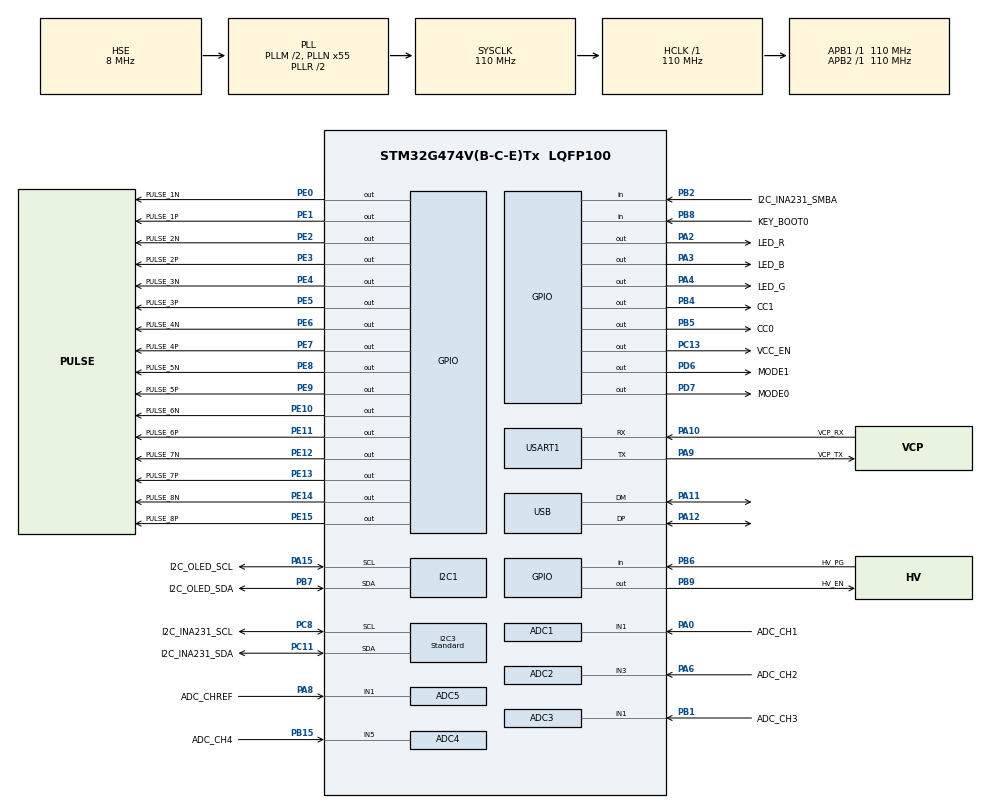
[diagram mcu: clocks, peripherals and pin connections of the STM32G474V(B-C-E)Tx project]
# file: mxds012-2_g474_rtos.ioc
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ADC1.Channel-1\#ChannelRegularConversion=ADC_CHANNEL_1
ADC1.ClockPrescaler=ADC_CLOCK_ASYNC_DIV2
ADC1.ContinuousConvMode=DISABLE
ADC1.DMAAccessModeView=ENABLE
ADC1.ExternalTrigConv=ADC_EXTERNALTRIG_T3_TRGO
ADC1.GainCompensation=0
ADC1.Mode=ADC_DUALMODE_REGSIMULT
ADC1.NbrOfConversionFlag=1
ADC1.OffsetNumber-1\#ChannelRegularConversion=ADC_OFFSET_NONE
ADC1.Rank-1\#ChannelRegularConversion=1
ADC1.Resolution=ADC_RESOLUTION_10B
ADC1.SamplingTime-1\#ChannelRegularConversion=ADC_SAMPLETIME_2CYCLES_5
ADC1.master=1
ADC2.Channel-0\#ChannelRegularConversion=ADC_CHANNEL_3
ADC2.ClockPrescaler=ADC_CLOCK_ASYNC_DIV2
ADC2.ContinuousConvMode=DISABLE
ADC2.DMAAccessModeView=ENABLE
ADC2.Mode=ADC_DUALMODE_REGSIMULT
ADC2.NbrOfConversionFlag=1
ADC2.OffsetNumber-0\#ChannelRegularConversion=ADC_OFFSET_NONE
ADC2.Rank-0\#ChannelRegularConversion=1
ADC2.Resolution=ADC_RESOLUTION_10B
ADC2.SamplingTime-0\#ChannelRegularConversion=ADC_SAMPLETIME_2CYCLES_5
ADC3.Channel-0\#ChannelRegularConversion=ADC_CHANNEL_1
ADC3.ClockPrescaler=ADC_CLOCK_ASYNC_DIV2
ADC3.DMAAccessModeView=ENABLE
ADC3.ExternalTrigConv=ADC_EXTERNALTRIG_T3_TRGO
ADC3.Mode=ADC_DUALMODE_REGSIMULT
ADC3.NbrOfConversionFlag=1
ADC3.OffsetNumber-0\#ChannelRegularConversion=ADC_OFFSET_NONE
ADC3.Rank-0\#ChannelRegularConversion=1
ADC3.Resolution=ADC_RESOLUTION_10B
ADC3.SamplingTime-0\#ChannelRegularConversion=ADC_SAMPLETIME_2CYCLES_5
ADC3.master=1
ADC4.Channel-1\#ChannelRegularConversion=ADC_CHANNEL_5
ADC4.ClockPrescaler=ADC_CLOCK_ASYNC_DIV2
ADC4.DMAAccessModeView=ENABLE
ADC4.Mode=ADC_DUALMODE_REGSIMULT
ADC4.NbrOfConversionFlag=1
ADC4.OffsetNumber-1\#ChannelRegularConversion=ADC_OFFSET_NONE
ADC4.Rank-1\#ChannelRegularConversion=1
ADC4.Resolution=ADC_RESOLUTION_10B
ADC4.SamplingTime-1\#ChannelRegularConversion=ADC_SAMPLETIME_2CYCLES_5
ADC5.Channel-1\#ChannelRegularConversion=ADC_CHANNEL_1
ADC5.ClockPrescaler=ADC_CLOCK_ASYNC_DIV2
ADC5.ContinuousConvMode=DISABLE
ADC5.ExternalTrigConv=ADC_EXTERNALTRIG_T3_TRGO
ADC5.Mode=ADC_DUALMODE_REGSIMULT
ADC5.NbrOfConversionFlag=1
ADC5.OffsetNumber-1\#ChannelRegularConversion=ADC_OFFSET_NONE
ADC5.Rank-1\#ChannelRegularConversion=1
ADC5.Resolution=ADC_RESOLUTION_10B
ADC5.SamplingTime-1\#ChannelRegularConversion=ADC_SAMPLETIME_2CYCLES_5
Dma.ADC1.1.Direction=DMA_PERIPH_TO_MEMORY
Dma.ADC1.1.EventEnable=DISABLE
Dma.ADC1.1.Instance=DMA1_Channel2
Dma.ADC1.1.MemDataAlignment=DMA_MDATAALIGN_WORD
Dma.ADC1.1.MemInc=DMA_MINC_ENABLE
Dma.ADC1.1.Mode=DMA_NORMAL
Dma.ADC1.1.PeriphDataAlignment=DMA_PDATAALIGN_WORD
Dma.ADC1.1.PeriphInc=DMA_PINC_DISABLE
Dma.ADC1.1.Polarity=HAL_DMAMUX_REQ_GEN_RISING
Dma.ADC1.1.Priority=DMA_PRIORITY_HIGH
Dma.ADC1.1.RequestNumber=1
Dma.ADC1.1.SignalID=NONE
Dma.ADC1.1.SyncEnable=DISABLE
Dma.ADC1.1.SyncPolarity=HAL_DMAMUX_SYNC_NO_EVENT
Dma.ADC1.1.SyncRequestNumber=1
Dma.ADC1.1.SyncSignalID=NONE
Dma.ADC3.4.Direction=DMA_PERIPH_TO_MEMORY
Dma.ADC3.4.EventEnable=DISABLE
Dma.ADC3.4.Instance=DMA2_Channel2
Dma.ADC3.4.MemDataAlignment=DMA_MDATAALIGN_WORD
Dma.ADC3.4.MemInc=DMA_MINC_ENABLE
Dma.ADC3.4.Mode=DMA_NORMAL
Dma.ADC3.4.PeriphDataAlignment=DMA_PDATAALIGN_WORD
Dma.ADC3.4.PeriphInc=DMA_PINC_DISABLE
Dma.ADC3.4.Polarity=HAL_DMAMUX_REQ_GEN_RISING
Dma.ADC3.4.Priority=DMA_PRIORITY_HIGH
Dma.ADC3.4.RequestNumber=1
Dma.ADC3.4.SignalID=NONE
Dma.ADC3.4.SyncEnable=DISABLE
Dma.ADC3.4.SyncPolarity=HAL_DMAMUX_SYNC_NO_EVENT
Dma.ADC3.4.SyncRequestNumber=1
Dma.ADC3.4.SyncSignalID=NONE
Dma.ADC5.2.Direction=DMA_PERIPH_TO_MEMORY
Dma.ADC5.2.EventEnable=DISABLE
Dma.ADC5.2.Instance=DMA2_Channel1
Dma.ADC5.2.MemDataAlignment=DMA_MDATAALIGN_HALFWORD
Dma.ADC5.2.MemInc=DMA_MINC_ENABLE
Dma.ADC5.2.Mode=DMA_NORMAL
Dma.ADC5.2.PeriphDataAlignment=DMA_PDATAALIGN_HALFWORD
Dma.ADC5.2.PeriphInc=DMA_PINC_DISABLE
Dma.ADC5.2.Polarity=HAL_DMAMUX_REQ_GEN_RISING
Dma.ADC5.2.Priority=DMA_PRIORITY_HIGH
Dma.ADC5.2.RequestNumber=1
Dma.ADC5.2.SignalID=NONE
Dma.ADC5.2.SyncEnable=DISABLE
Dma.ADC5.2.SyncPolarity=HAL_DMAMUX_SYNC_NO_EVENT
Dma.ADC5.2.SyncRequestNumber=1
Dma.ADC5.2.SyncSignalID=NONE
Dma.Request0=TIM2_UP
Dma.Request1=ADC1
Dma.Request2=ADC5
Dma.Request3=USART1_TX
Dma.Request4=ADC3
Dma.TIM2_UP.0.Direction=DMA_MEMORY_TO_PERIPH
Dma.TIM2_UP.0.EventEnable=DISABLE
Dma.TIM2_UP.0.Instance=DMA1_Channel1
Dma.TIM2_UP.0.MemDataAlignment=DMA_MDATAALIGN_HALFWORD
Dma.TIM2_UP.0.MemInc=DMA_MINC_ENABLE
Dma.TIM2_UP.0.Mode=DMA_NORMAL
Dma.TIM2_UP.0.PeriphDataAlignment=DMA_PDATAALIGN_HALFWORD
Dma.TIM2_UP.0.PeriphInc=DMA_PINC_DISABLE
Dma.TIM2_UP.0.Polarity=HAL_DMAMUX_REQ_GEN_RISING
Dma.TIM2_UP.0.Priority=DMA_PRIORITY_VERY_HIGH
Dma.TIM2_UP.0.RequestNumber=1
Dma.TIM2_UP.0.SignalID=NONE
Dma.TIM2_UP.0.SyncEnable=DISABLE
Dma.TIM2_UP.0.SyncPolarity=HAL_DMAMUX_SYNC_NO_EVENT
Dma.TIM2_UP.0.SyncRequestNumber=1
Dma.TIM2_UP.0.SyncSignalID=NONE
Dma.USART1_TX.3.Direction=DMA_MEMORY_TO_PERIPH
Dma.USART1_TX.3.EventEnable=DISABLE
Dma.USART1_TX.3.Instance=DMA2_Channel3
Dma.USART1_TX.3.MemDataAlignment=DMA_MDATAALIGN_BYTE
Dma.USART1_TX.3.MemInc=DMA_MINC_ENABLE
Dma.USART1_TX.3.Mode=DMA_NORMAL
Dma.USART1_TX.3.PeriphDataAlignment=DMA_PDATAALIGN_BYTE
Dma.USART1_TX.3.PeriphInc=DMA_PINC_DISABLE
Dma.USART1_TX.3.Polarity=HAL_DMAMUX_REQ_GEN_RISING
Dma.USART1_TX.3.Priority=DMA_PRIORITY_LOW
Dma.USART1_TX.3.RequestNumber=1
Dma.USART1_TX.3.SignalID=NONE
Dma.USART1_TX.3.SyncEnable=DISABLE
Dma.USART1_TX.3.SyncPolarity=HAL_DMAMUX_SYNC_NO_EVENT
Dma.USART1_TX.3.SyncRequestNumber=1
Dma.USART1_TX.3.SyncSignalID=NONE
FREERTOS.BinarySemaphores01=USBTXCpltSem,Dynamic,NULL,Depleted
FREERTOS.Events01=sysEventGroup,Dynamic,NULL
FREERTOS.Mutexes01=usbTxMutex,Dynamic,NULL,Available
FREERTOS.Queues01=sysControlQueue,8,SysControlMessage*,0,Dynamic,NULL,NULL;OLEDQueue,16,uint16_t,0,Dynamic,NULL,NULL;USBRXQueue,16,uint8_t,0,Dynamic,NULL,NULL;UsbTxQueue,16,void*,0,Dynamic,NULL,NULL
FREERTOS.Tasks01=SysMonitorTask,31,128,StartSysMonitorTask,As weak,NULL,Dynamic,NULL,NULL;OLEDTask,27,128,StartOLEDTask,As weak,NULL,Dynamic,NULL,NULL;LEDTask,16,128,StartLEDTask,As external,NULL,Dynamic,NULL,NULL;USServiceTask,48,128,StartUltrasoundServiceTask,As external,NULL,Dynamic,NULL,NULL;KeyTask,32,128,StartKeyTask,As external,NULL,Dynamic,NULL,NULL;HVMonitorTask,33,128,StartHVMonitorTask,As external,NULL,Dynamic,NULL,NULL;INA231Task,15,128,StartINA231Task,As weak,NULL,Dynamic,NULL,NULL;ADCTask,48,128,StartADCTask,As external,NULL,Dynamic,NULL,NULL;USBRXTask,24,128,StartUSBRXTask,As weak,NULL,Dynamic,NULL,NULL;USBTXTask,30,128,StartUSBTXTask,As weak,NULL,Dynamic,NULL,NULL
FREERTOS.configTOTAL_HEAP_SIZE=65536
I2C1.Timing=0x60514452
I2C3.I2C_Speed_Mode=I2C_Standard
I2C3.Timing=0x60514452
Mcu.Family=STM32G4
Mcu.Name=STM32G474V(B-C-E)Tx
Mcu.Package=LQFP100
NVIC.DMA1_Channel1_IRQn=true\:5\:0\:true\:false\:true\:true\:false\:true\:true
NVIC.DMA1_Channel2_IRQn=true\:5\:0\:false\:false\:true\:true\:false\:true\:true
NVIC.DMA2_Channel1_IRQn=true\:5\:0\:false\:false\:true\:false\:false\:true\:true
NVIC.DMA2_Channel2_IRQn=true\:5\:0\:false\:false\:true\:true\:false\:true\:true
NVIC.DMA2_Channel3_IRQn=true\:5\:0\:false\:false\:true\:true\:false\:true\:true
NVIC.PriorityGroup=NVIC_PRIORITYGROUP_4
NVIC.TIM1_TRG_COM_TIM17_IRQn=true\:15\:0\:false\:false\:true\:false\:false\:true\:true
NVIC.TIM5_IRQn=true\:5\:0\:false\:false\:true\:true\:true\:true\:true
NVIC.TimeBase=TIM1_TRG_COM_TIM17_IRQn
NVIC.TimeBaseIP=TIM17
NVIC.USART1_IRQn=true\:5\:0\:false\:false\:true\:true\:false\:true\:true
NVIC.USB_LP_IRQn=true\:5\:0\:false\:false\:true\:true\:false\:true\:true
PA0.GPIO_Label=ADC_CH1
PA0.Mode=IN1-Single-Ended
PA0.Signal=ADC1_IN1
PA10.GPIO_Label=VCP_RX
PA10.GPIO_Speed=GPIO_SPEED_FREQ_MEDIUM
PA10.Mode=Asynchronous
PA10.Signal=USART1_RX
PA11.Mode=Device
PA11.Signal=USB_DM
PA12.Mode=Device
PA12.Signal=USB_DP
PA13.Mode=Trace_Asynchronous_SW
PA13.Signal=SYS_JTMS-SWDIO
PA14.Mode=Trace_Asynchronous_SW
PA14.Signal=SYS_JTCK-SWCLK
PA15.GPIO_Label=I2C_OLED_SCL
PA15.Mode=I2C
PA15.Signal=I2C1_SCL
PA2.GPIO_Label=LED_R
PA2.GPIO_ModeDefaultOutputPP=GPIO_MODE_OUTPUT_OD
PA2.GPIO_PuPd=GPIO_NOPULL
PA2.PinState=GPIO_PIN_SET
PA2.Signal=GPIO_Output
PA3.GPIO_Label=LED_B
PA3.GPIO_ModeDefaultOutputPP=GPIO_MODE_OUTPUT_OD
PA3.GPIO_PuPd=GPIO_NOPULL
PA3.PinState=GPIO_PIN_SET
PA3.Signal=GPIO_Output
PA4.GPIO_Label=LED_G
PA4.GPIO_ModeDefaultOutputPP=GPIO_MODE_OUTPUT_OD
PA4.GPIO_PuPd=GPIO_NOPULL
PA4.PinState=GPIO_PIN_SET
PA4.Signal=GPIO_Output
PA6.GPIO_Label=ADC_CH2
PA6.Mode=IN3-Single-Ended
PA6.Signal=ADC2_IN3
PA8.GPIO_Label=ADC_CHREF
PA8.Mode=IN1-Single-Ended
PA8.Signal=ADC5_IN1
PA9.GPIO_Label=VCP_TX
PA9.GPIO_Speed=GPIO_SPEED_FREQ_MEDIUM
PA9.Mode=Asynchronous
PA9.Signal=USART1_TX
PB1.GPIO_Label=ADC_CH3
PB1.Mode=IN1-Single-Ended
PB1.Signal=ADC3_IN1
PB15.GPIO_Label=ADC_CH4
PB15.Mode=IN5-Single-Ended
PB15.Signal=ADC4_IN5
PB2.GPIO_Label=I2C_INA231_SMBA
PB2.Signal=GPIO_Input
PB3.Mode=Trace_Asynchronous_SW
PB3.Signal=SYS_JTDO-SWO
PB4.GPIO_Label=CC1
PB4.PinState=GPIO_PIN_SET
PB4.Signal=GPIO_Output
PB5.GPIO_Label=CC0
PB5.PinState=GPIO_PIN_SET
PB5.Signal=GPIO_Output
PB6.GPIO_Label=HV_PG
PB6.GPIO_PuPd=GPIO_PULLUP
PB6.Signal=GPIO_Input
PB7.GPIO_Label=I2C_OLED_SDA
PB7.Mode=I2C
PB7.Signal=I2C1_SDA
PB8-BOOT0.GPIO_Label=KEY_BOOT0
PB8-BOOT0.Signal=GPIO_Input
PB9.GPIO_Label=HV_EN
PB9.GPIO_ModeDefaultOutputPP=GPIO_MODE_OUTPUT_OD
PB9.GPIO_PuPd=GPIO_NOPULL
PB9.Signal=GPIO_Output
PC11.GPIO_Label=I2C_INA231_SDA
PC11.Mode=I2C
PC11.Signal=I2C3_SDA
PC13.GPIO_Label=VCC_EN
PC13.GPIO_ModeDefaultOutputPP=GPIO_MODE_OUTPUT_PP
PC13.GPIO_PuPd=GPIO_NOPULL
PC13.PinState=GPIO_PIN_RESET
PC13.Signal=GPIO_Output
PC14-OSC32_IN.Mode=LSE-External-Oscillator
PC14-OSC32_IN.Signal=RCC_OSC32_IN
PC15-OSC32_OUT.Mode=LSE-External-Oscillator
PC15-OSC32_OUT.Signal=RCC_OSC32_OUT
PC8.GPIO_Label=I2C_INA231_SCL
PC8.Mode=I2C
PC8.Signal=I2C3_SCL
PD6.GPIO_Label=MODE1
PD6.Signal=GPIO_Output
PD7.GPIO_Label=MODE0
PD7.Signal=GPIO_Output
PE0.GPIO_Label=PULSE_1N
PE0.GPIO_Speed=GPIO_SPEED_FREQ_VERY_HIGH
PE0.Signal=GPIO_Output
PE1.GPIO_Label=PULSE_1P
PE1.GPIO_Speed=GPIO_SPEED_FREQ_VERY_HIGH
PE1.Signal=GPIO_Output
PE10.GPIO_Label=PULSE_6N
PE10.GPIO_Speed=GPIO_SPEED_FREQ_VERY_HIGH
PE10.Signal=GPIO_Output
PE11.GPIO_Label=PULSE_6P
PE11.GPIO_Speed=GPIO_SPEED_FREQ_VERY_HIGH
PE11.Signal=GPIO_Output
PE12.GPIO_Label=PULSE_7N
PE12.GPIO_Speed=GPIO_SPEED_FREQ_VERY_HIGH
PE12.Signal=GPIO_Output
PE13.GPIO_Label=PULSE_7P
PE13.GPIO_Speed=GPIO_SPEED_FREQ_VERY_HIGH
PE13.Signal=GPIO_Output
PE14.GPIO_Label=PULSE_8N
PE14.GPIO_Speed=GPIO_SPEED_FREQ_VERY_HIGH
PE14.Signal=GPIO_Output
PE15.GPIO_Label=PULSE_8P
PE15.GPIO_Speed=GPIO_SPEED_FREQ_VERY_HIGH
PE15.Signal=GPIO_Output
PE2.GPIO_Label=PULSE_2N
PE2.GPIO_Speed=GPIO_SPEED_FREQ_VERY_HIGH
PE2.Signal=GPIO_Output
PE3.GPIO_Label=PULSE_2P
PE3.GPIO_Speed=GPIO_SPEED_FREQ_VERY_HIGH
PE3.Signal=GPIO_Output
PE4.GPIO_Label=PULSE_3N
PE4.GPIO_Speed=GPIO_SPEED_FREQ_VERY_HIGH
PE4.Signal=GPIO_Output
PE5.GPIO_Label=PULSE_3P
PE5.GPIO_Speed=GPIO_SPEED_FREQ_VERY_HIGH
PE5.Signal=GPIO_Output
PE6.GPIO_Label=PULSE_4N
PE6.GPIO_Speed=GPIO_SPEED_FREQ_VERY_HIGH
PE6.Signal=GPIO_Output
PE7.GPIO_Label=PULSE_4P
PE7.GPIO_Speed=GPIO_SPEED_FREQ_VERY_HIGH
PE7.Signal=GPIO_Output
PE8.GPIO_Label=PULSE_5N
PE8.GPIO_Speed=GPIO_SPEED_FREQ_VERY_HIGH
PE8.Signal=GPIO_Output
PE9.GPIO_Label=PULSE_5P
PE9.GPIO_Speed=GPIO_SPEED_FREQ_VERY_HIGH
PE9.Signal=GPIO_Output
PF0-OSC_IN.Mode=HSE-External-Oscillator
PF0-OSC_IN.Signal=RCC_OSC_IN
PF1-OSC_OUT.Mode=HSE-External-Oscillator
PF1-OSC_OUT.Signal=RCC_OSC_OUT
ProjectManager.HeapSize=0x200
ProjectManager.StackSize=0x400
ProjectManager.TargetToolchain=CMake
RCC.ADC12Freq_Value=110000000
RCC.ADC345Freq_Value=110000000
RCC.AHBFreq_Value=110000000
RCC.APB1Freq_Value=110000000
RCC.APB1TimFreq_Value=110000000
RCC.APB2Freq_Value=110000000
RCC.APB2TimFreq_Value=110000000
RCC.CK48CLockSelection=RCC_USBCLKSOURCE_HSI48
RCC.CortexFreq_Value=110000000
RCC.EXTERNAL_CLOCK_VALUE=12288000
RCC.HCLKFreq_Value=110000000
RCC.HSE_VALUE=8000000
RCC.HSI48_VALUE=48000000
RCC.HSI_VALUE=16000000
RCC.I2C1CLockSelection=RCC_I2C1CLKSOURCE_SYSCLK
RCC.I2C3CLockSelection=RCC_I2C3CLKSOURCE_SYSCLK
RCC.PLLM=RCC_PLLM_DIV2
RCC.PLLN=55
RCC.PLLSourceVirtual=RCC_PLLSOURCE_HSE
RCC.RCC_MCO1Source=RCC_MCO1SOURCE_PLLCLK
RCC.SYSCLKFreq_VALUE=110000000
RCC.SYSCLKSource=RCC_SYSCLKSOURCE_PLLCLK
RCC.USBFreq_Value=48000000
RCC.VCOOutputFreq_Value=220000000
TIM2.PeriodNoDither=11 - 1
TIM2.Prescaler=0
TIM2.TIM_MasterOutputTrigger=TIM_TRGO_UPDATE
TIM3.PeriodNoDither=20-1
TIM3.TIM_MasterOutputTrigger=TIM_TRGO_UPDATE
TIM5.PeriodNoDither=frame_period * 100 - 1
TIM5.Prescaler=1100 - 1
TIM5.TIM_MasterOutputTrigger=TIM_TRGO_UPDATE
USART1.SwapParam=ADVFEATURE_SWAP_DISABLE
USART1.VirtualMode-Asynchronous=VM_ASYNC
USB.battery_charging_enable=DISABLE
USB.lpm_enable=DISABLE
USB_DEVICE.APP_RX_DATA_SIZE=1024
USB_DEVICE.CLASS_NAME_FS=CDC
USB_DEVICE.MANUFACTURER_STRING=HITSZ
USB_DEVICE.PRODUCT_STRING_CDC_FS=MXDS012-2
USB_DEVICE.USBD_LPM_ENABLED=1
USB_DEVICE.USBD_SELF_POWERED=0
USB_DEVICE.VirtualMode=Cdc
USB_DEVICE.VirtualModeFS=Cdc_FS
VP_FREERTOS_VS_CMSIS_V2.Mode=CMSIS_V2
VP_SYS_VS_DBSignals.Mode=DisableDeadBatterySignals
VP_SYS_VS_tim17.Mode=TIM17
VP_TIM2_VS_ClockSourceINT.Mode=Internal
VP_TIM3_VS_ClockSourceINT.Mode=Internal
VP_TIM5_VS_ClockSourceINT.Mode=Internal
VP_USB_DEVICE_VS_USB_DEVICE_CDC_FS.Mode=CDC_FS
board=custom

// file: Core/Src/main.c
/* USER CODE BEGIN Header */
/**
  ******************************************************************************
  * @file           : main.c
  * @brief          : Main program body
  ******************************************************************************
  * @attention
  *
  * Copyright (c) 2025 STMicroelectronics.
  * All rights reserved.
  *
  * This software is licensed under terms that can be found in the LICENSE file
  * in the root directory of this software component.
  * If no LICENSE file comes with this software, it is provided AS-IS.
  *
  ******************************************************************************
  */
/* USER CODE END Header */
#include "main.h"
#include "cmsis_os.h"
#include "adc.h"
#include "dma.h"
#include "i2c.h"
#include "tim.h"
#include "usart.h"
#include "usb_device.h"
#include "gpio.h"

/* USER CODE BEGIN Includes */
#include "adc_sync.h"
#include "max14808.h"
#include "ssd1306.h"
#include <stdio.h>
/* USER CODE END Includes */

void SystemClock_Config(void);
void MX_FREERTOS_Init(void);

/* USER CODE BEGIN 0 */

/**
 * @brief Printf重定向到UART
 */
int __io_putchar(int ch)
{
    /* 将字符发送到UART1 */
    HAL_UART_Transmit(&huart1, (uint8_t *)&ch, 1, 10);
    return ch;
}

/* USER CODE END 0 */

int main(void)
{

  /* MCU Configuration--------------------------------------------------------*/

  /* Reset of all peripherals, Initializes the Flash interface and the Systick. */
  HAL_Init();

  /* Configure the system clock */
  SystemClock_Config();

  /* Initialize all configured peripherals */
  MX_GPIO_Init();
  MX_DMA_Init();
  MX_TIM2_Init();
  MX_TIM5_Init();
  MX_USART1_UART_Init();
  MX_TIM3_Init();
  MX_ADC1_Init();
  MX_ADC2_Init();
  MX_ADC3_Init();
  MX_ADC4_Init();
  MX_ADC5_Init();
  MX_I2C1_Init();
  MX_I2C3_Init();
  /* USER CODE BEGIN 2 */
  // 初始化 ADC
  HAL_ADCEx_Calibration_Start(&hadc1, ADC_SINGLE_ENDED);
  HAL_ADCEx_Calibration_Start(&hadc2, ADC_SINGLE_ENDED);
  HAL_ADCEx_Calibration_Start(&hadc3, ADC_SINGLE_ENDED);
  HAL_ADCEx_Calibration_Start(&hadc4, ADC_SINGLE_ENDED);
  HAL_ADCEx_Calibration_Start(&hadc5, ADC_SINGLE_ENDED);

  SysConfig_Init(&sysConfig);
  // HAL_Delay(20); // 单片机启动比 OLED 上电快, 需要延迟等待一下
  // OLED_Init();
  printf("Welcome to MXDS012-2.\n");
  /* USER CODE END 2 */

  /* Init scheduler */
  osKernelInitialize();  /* Call init function for freertos objects (in cmsis_os2.c) */
  MX_FREERTOS_Init();

  /* Start scheduler */
  osKernelStart();

  /* We should never get here as control is now taken by the scheduler */

  /* Infinite loop */
  while (1)
  {

  }
}

void SystemClock_Config(void)
{
  RCC_OscInitTypeDef RCC_OscInitStruct = {0};
  RCC_ClkInitTypeDef RCC_ClkInitStruct = {0};

  /** Configure the main internal regulator output voltage
  */
  HAL_PWREx_ControlVoltageScaling(PWR_REGULATOR_VOLTAGE_SCALE1);

  /** Initializes the RCC Oscillators according to the specified parameters
  * in the RCC_OscInitTypeDef structure.
  */
  RCC_OscInitStruct.OscillatorType = RCC_OSCILLATORTYPE_HSI48|RCC_OSCILLATORTYPE_HSE;
  RCC_OscInitStruct.HSEState = RCC_HSE_ON;
  RCC_OscInitStruct.HSI48State = RCC_HSI48_ON;
  RCC_OscInitStruct.PLL.PLLState = RCC_PLL_ON;
  RCC_OscInitStruct.PLL.PLLSource = RCC_PLLSOURCE_HSE;
  RCC_OscInitStruct.PLL.PLLM = RCC_PLLM_DIV2;
  RCC_OscInitStruct.PLL.PLLN = 55;
  RCC_OscInitStruct.PLL.PLLP = RCC_PLLP_DIV2;
  RCC_OscInitStruct.PLL.PLLQ = RCC_PLLQ_DIV2;
  RCC_OscInitStruct.PLL.PLLR = RCC_PLLR_DIV2;
  if (HAL_RCC_OscConfig(&RCC_OscInitStruct) != HAL_OK)
  {
    Error_Handler();
  }

  /** Initializes the CPU, AHB and APB buses clocks
  */
  RCC_ClkInitStruct.ClockType = RCC_CLOCKTYPE_HCLK|RCC_CLOCKTYPE_SYSCLK
                              |RCC_CLOCKTYPE_PCLK1|RCC_CLOCKTYPE_PCLK2;
  RCC_ClkInitStruct.SYSCLKSource = RCC_SYSCLKSOURCE_PLLCLK;
  RCC_ClkInitStruct.AHBCLKDivider = RCC_SYSCLK_DIV1;
  RCC_ClkInitStruct.APB1CLKDivider = RCC_HCLK_DIV1;
  RCC_ClkInitStruct.APB2CLKDivider = RCC_HCLK_DIV1;

  if (HAL_RCC_ClockConfig(&RCC_ClkInitStruct, FLASH_LATENCY_3) != HAL_OK)
  {
    Error_Handler();
  }
}

void HAL_TIM_PeriodElapsedCallback(TIM_HandleTypeDef *htim)
{
  if (htim->Instance == TIM17)
  {
    HAL_IncTick();
  }
}

void Error_Handler(void)
{
  __disable_irq();
  while (1)
  {
  }
}

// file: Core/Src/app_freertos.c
/* USER CODE BEGIN Header */
/**
  ******************************************************************************
  * File Name          : app_freertos.c
  * Description        : Code for freertos applications
  ******************************************************************************
  * @attention
  *
  * Copyright (c) 2025 STMicroelectronics.
  * All rights reserved.
  *
  * This software is licensed under terms that can be found in the LICENSE file
  * in the root directory of this software component.
  * If no LICENSE file comes with this software, it is provided AS-IS.
  *
  ******************************************************************************
  */
/* USER CODE END Header */

#include "FreeRTOS.h"
#include "task.h"
#include "main.h"
#include "cmsis_os.h"

#include "usb_device.h"

/* USER CODE BEGIN Includes */
#include "Types/SystemTypes.h"
/* USER CODE END Includes */

/* Definitions for SysMonitorTask */
osThreadId_t SysMonitorTaskHandle;
const osThreadAttr_t SysMonitorTask_attributes = {
  .name = "SysMonitorTask",
  .priority = (osPriority_t) osPriorityNormal7,
  .stack_size = 128 * 4
};
/* Definitions for OLEDTask */
osThreadId_t OLEDTaskHandle;
const osThreadAttr_t OLEDTask_attributes = {
  .name = "OLEDTask",
  .priority = (osPriority_t) osPriorityNormal3,
  .stack_size = 128 * 4
};
/* Definitions for LEDTask */
osThreadId_t LEDTaskHandle;
const osThreadAttr_t LEDTask_attributes = {
  .name = "LEDTask",
  .priority = (osPriority_t) osPriorityBelowNormal,
  .stack_size = 128 * 4
};
/* Definitions for USServiceTask */
osThreadId_t USServiceTaskHandle;
const osThreadAttr_t USServiceTask_attributes = {
  .name = "USServiceTask",
  .priority = (osPriority_t) osPriorityRealtime,
  .stack_size = 128 * 4
};
/* Definitions for KeyTask */
osThreadId_t KeyTaskHandle;
const osThreadAttr_t KeyTask_attributes = {
  .name = "KeyTask",
  .priority = (osPriority_t) osPriorityAboveNormal,
  .stack_size = 128 * 4
};
/* Definitions for HVMonitorTask */
osThreadId_t HVMonitorTaskHandle;
const osThreadAttr_t HVMonitorTask_attributes = {
  .name = "HVMonitorTask",
  .priority = (osPriority_t) osPriorityAboveNormal1,
  .stack_size = 128 * 4
};
/* Definitions for INA231Task */
osThreadId_t INA231TaskHandle;
const osThreadAttr_t INA231Task_attributes = {
  .name = "INA231Task",
  .priority = (osPriority_t) osPriorityLow7,
  .stack_size = 128 * 4
};
/* Definitions for ADCTask */
osThreadId_t ADCTaskHandle;
const osThreadAttr_t ADCTask_attributes = {
  .name = "ADCTask",
  .priority = (osPriority_t) osPriorityRealtime,
  .stack_size = 128 * 4
};
/* Definitions for USBRXTask */
osThreadId_t USBRXTaskHandle;
const osThreadAttr_t USBRXTask_attributes = {
  .name = "USBRXTask",
  .priority = (osPriority_t) osPriorityNormal,
  .stack_size = 128 * 4
};
/* Definitions for USBTXTask */
osThreadId_t USBTXTaskHandle;
const osThreadAttr_t USBTXTask_attributes = {
  .name = "USBTXTask",
  .priority = (osPriority_t) osPriorityNormal6,
  .stack_size = 128 * 4
};
/* Definitions for sysControlQueue */
osMessageQueueId_t sysControlQueueHandle;
const osMessageQueueAttr_t sysControlQueue_attributes = {
  .name = "sysControlQueue"
};
/* Definitions for OLEDQueue */
osMessageQueueId_t OLEDQueueHandle;
const osMessageQueueAttr_t OLEDQueue_attributes = {
  .name = "OLEDQueue"
};
/* Definitions for USBRXQueue */
osMessageQueueId_t USBRXQueueHandle;
const osMessageQueueAttr_t USBRXQueue_attributes = {
  .name = "USBRXQueue"
};
/* Definitions for UsbTxQueue */
osMessageQueueId_t UsbTxQueueHandle;
const osMessageQueueAttr_t UsbTxQueue_attributes = {
  .name = "UsbTxQueue"
};
/* Definitions for usbTxMutex */
osMutexId_t usbTxMutexHandle;
const osMutexAttr_t usbTxMutex_attributes = {
  .name = "usbTxMutex"
};
/* Definitions for USBTXCpltSem */
osSemaphoreId_t USBTXCpltSemHandle;
const osSemaphoreAttr_t USBTXCpltSem_attributes = {
  .name = "USBTXCpltSem"
};
/* Definitions for sysEventGroup */
osEventFlagsId_t sysEventGroupHandle;
const osEventFlagsAttr_t sysEventGroup_attributes = {
  .name = "sysEventGroup"
};

void StartSysMonitorTask(void *argument);
void StartOLEDTask(void *argument);
extern void StartLEDTask(void *argument);
extern void StartUltrasoundServiceTask(void *argument);
extern void StartKeyTask(void *argument);
extern void StartHVMonitorTask(void *argument);
void StartINA231Task(void *argument);
extern void StartADCTask(void *argument);
void StartUSBRXTask(void *argument);
void StartUSBTXTask(void *argument);

void MX_FREERTOS_Init(void); /* (MISRA C 2004 rule 8.1) */

void MX_FREERTOS_Init(void) {
  /* Create the mutex(es) */
  /* creation of usbTxMutex */
  usbTxMutexHandle = osMutexNew(&usbTxMutex_attributes);

  /* Create the semaphores(s) */
  /* creation of USBTXCpltSem */
  USBTXCpltSemHandle = osSemaphoreNew(1, 0, &USBTXCpltSem_attributes);

  /* Create the queue(s) */
  /* creation of sysControlQueue */
  sysControlQueueHandle = osMessageQueueNew (8, sizeof(SysControlMessage*), &sysControlQueue_attributes);

  /* creation of OLEDQueue */
  OLEDQueueHandle = osMessageQueueNew (16, sizeof(uint16_t), &OLEDQueue_attributes);

  /* creation of USBRXQueue */
  USBRXQueueHandle = osMessageQueueNew (16, sizeof(uint8_t), &USBRXQueue_attributes);

  /* creation of UsbTxQueue */
  UsbTxQueueHandle = osMessageQueueNew (16, sizeof(void*), &UsbTxQueue_attributes);

  /* Create the thread(s) */
  /* creation of SysMonitorTask */
  SysMonitorTaskHandle = osThreadNew(StartSysMonitorTask, NULL, &SysMonitorTask_attributes);

  /* creation of OLEDTask */
  OLEDTaskHandle = osThreadNew(StartOLEDTask, NULL, &OLEDTask_attributes);

  /* creation of LEDTask */
  LEDTaskHandle = osThreadNew(StartLEDTask, NULL, &LEDTask_attributes);

  /* creation of USServiceTask */
  USServiceTaskHandle = osThreadNew(StartUltrasoundServiceTask, NULL, &USServiceTask_attributes);

  /* creation of KeyTask */
  KeyTaskHandle = osThreadNew(StartKeyTask, NULL, &KeyTask_attributes);

  /* creation of HVMonitorTask */
  HVMonitorTaskHandle = osThreadNew(StartHVMonitorTask, NULL, &HVMonitorTask_attributes);

  /* creation of INA231Task */
  INA231TaskHandle = osThreadNew(StartINA231Task, NULL, &INA231Task_attributes);

  /* creation of ADCTask */
  ADCTaskHandle = osThreadNew(StartADCTask, NULL, &ADCTask_attributes);

  /* creation of USBRXTask */
  USBRXTaskHandle = osThreadNew(StartUSBRXTask, NULL, &USBRXTask_attributes);

  /* creation of USBTXTask */
  USBTXTaskHandle = osThreadNew(StartUSBTXTask, NULL, &USBTXTask_attributes);

  /* creation of sysEventGroup */
  sysEventGroupHandle = osEventFlagsNew(&sysEventGroup_attributes);

}

__weak void StartSysMonitorTask(void *argument)
{
  /* init code for USB_Device */
  MX_USB_Device_Init();
  for(;;)
  {
    osDelay(1);
  }
}

__weak void StartOLEDTask(void *argument)
{
  for(;;)
  {
    osDelay(1);
  }
}

__weak void StartINA231Task(void *argument)
{
  for(;;)
  {
    osDelay(1);
  }
}

__weak void StartUSBRXTask(void *argument)
{
  for(;;)
  {
    osDelay(1);
  }
}

__weak void StartUSBTXTask(void *argument)
{
  for(;;)
  {
    osDelay(1);
  }
}
